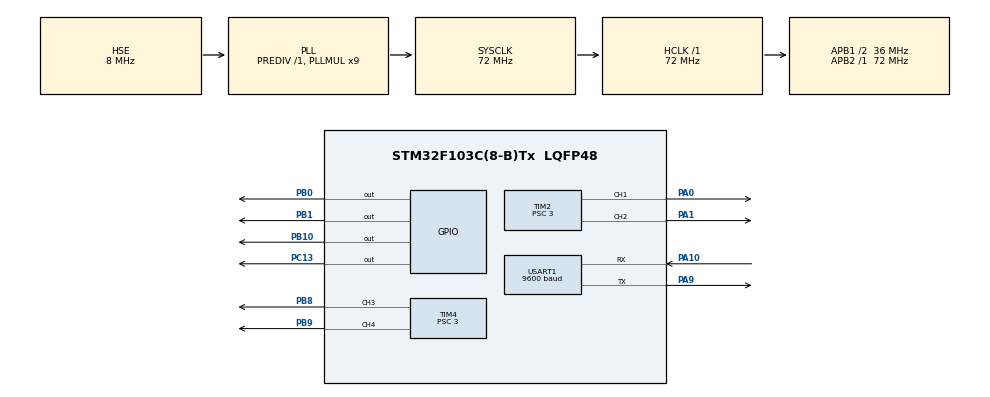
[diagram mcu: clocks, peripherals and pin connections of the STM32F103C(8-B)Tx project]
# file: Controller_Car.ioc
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Mcu.Family=STM32F1
Mcu.Name=STM32F103C(8-B)Tx
Mcu.Package=LQFP48
NVIC.PriorityGroup=NVIC_PRIORITYGROUP_4
NVIC.USART1_IRQn=true\:0\:0\:false\:false\:true\:true\:true\:true
PA0-WKUP.Signal=S_TIM2_CH1_ETR
PA1.Signal=S_TIM2_CH2
PA10.Mode=Asynchronous
PA10.Signal=USART1_RX
PA13.Mode=Serial_Wire
PA13.Signal=SYS_JTMS-SWDIO
PA14.Mode=Serial_Wire
PA14.Signal=SYS_JTCK-SWCLK
PA9.Mode=Asynchronous
PA9.Signal=USART1_TX
PB0.Signal=GPIO_Output
PB1.Signal=GPIO_Output
PB10.Signal=GPIO_Output
PB8.Signal=S_TIM4_CH3
PB9.Signal=S_TIM4_CH4
PC13-TAMPER-RTC.Signal=GPIO_Output
PD0-OSC_IN.Mode=HSE-External-Oscillator
PD0-OSC_IN.Signal=RCC_OSC_IN
PD1-OSC_OUT.Mode=HSE-External-Oscillator
PD1-OSC_OUT.Signal=RCC_OSC_OUT
ProjectManager.HeapSize=0x200
ProjectManager.StackSize=0x400
ProjectManager.TargetToolchain=MDK-ARM V5.32
RCC.AHBFreq_Value=72000000
RCC.APB1CLKDivider=RCC_HCLK_DIV2
RCC.APB1Freq_Value=36000000
RCC.APB1TimFreq_Value=72000000
RCC.APB2Freq_Value=72000000
RCC.APB2TimFreq_Value=72000000
RCC.HCLKFreq_Value=72000000
RCC.PLLMUL=RCC_PLL_MUL9
RCC.PLLSourceVirtual=RCC_PLLSOURCE_HSE
RCC.SYSCLKFreq_VALUE=72000000
RCC.SYSCLKSource=RCC_SYSCLKSOURCE_PLLCLK
RCC.USBFreq_Value=72000000
SH.S_TIM2_CH1_ETR.0=TIM2_CH1,PWM Generation1 CH1
SH.S_TIM2_CH2.0=TIM2_CH2,PWM Generation2 CH2
SH.S_TIM4_CH3.0=TIM4_CH3,PWM Generation3 CH3
SH.S_TIM4_CH4.0=TIM4_CH4,PWM Generation4 CH4
TIM2.Channel-PWM\ Generation1\ CH1=TIM_CHANNEL_1
TIM2.Channel-PWM\ Generation2\ CH2=TIM_CHANNEL_2
TIM2.Period=899
TIM2.Prescaler=3
TIM4.Channel-PWM\ Generation3\ CH3=TIM_CHANNEL_3
TIM4.Channel-PWM\ Generation4\ CH4=TIM_CHANNEL_4
TIM4.Period=899
TIM4.Prescaler=3
USART1.BaudRate=9600
USART1.VirtualMode=VM_ASYNC
VP_TIM2_VS_ClockSourceINT.Mode=Internal
VP_TIM4_VS_ClockSourceINT.Mode=Internal
board=custom

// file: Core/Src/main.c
/* USER CODE BEGIN Header */
/**
  ******************************************************************************
  * @file           : main.c
  * @brief          : Main program body
  ******************************************************************************
  * @attention
  *
  * Copyright (c) 2026 STMicroelectronics.
  * All rights reserved.
  *
  * This software is licensed under terms that can be found in the LICENSE file
  * in the root directory of this software component.
  * If no LICENSE file comes with this software, it is provided AS-IS.
  *
  ******************************************************************************
  */
/* USER CODE END Header */
#include "main.h"

/* USER CODE BEGIN Includes */
#include <stdlib.h>
/* USER CODE END Includes */

TIM_HandleTypeDef htim2;
TIM_HandleTypeDef htim4;

UART_HandleTypeDef huart1;

/* USER CODE BEGIN PV */
volatile uint8_t rx_data;
volatile uint8_t speed_percent = 40; // Mac dinh toc do 40%
volatile uint32_t last_command_time = 0;
#define COMMAND_TIMEOUT_MS 1000 // 1 giay timeout

/* USER CODE END PV */

void SystemClock_Config(void);
static void MX_GPIO_Init(void);
static void MX_USART1_UART_Init(void);
static void MX_TIM2_Init(void);
static void MX_TIM4_Init(void);
/* USER CODE BEGIN PFP */
void Motor_Left(int16_t speed);
void Motor_Right(int16_t speed);
uint16_t Map_PWM(uint8_t percent);

void move_forward(void);
void move_backward(void);
void turn_left(void);
void turn_right(void);
void move_forward_left(void);
void move_forward_right(void);
void move_backward_left(void);
void move_backward_right(void);
void stop_robot(void);
/* USER CODE END PFP */

int main(void)
{

  /* MCU Configuration--------------------------------------------------------*/

  /* Reset of all peripherals, Initializes the Flash interface and the Systick. */
  HAL_Init();

  /* Configure the system clock */
  SystemClock_Config();

  /* Initialize all configured peripherals */
  MX_GPIO_Init();
  MX_USART1_UART_Init();
  MX_TIM2_Init();
  MX_TIM4_Init();
  /* USER CODE BEGIN 2 */
	HAL_TIM_PWM_Start(&htim2, TIM_CHANNEL_1); // Left LPWM
	HAL_TIM_PWM_Start(&htim2, TIM_CHANNEL_2); // Left RPWM
	HAL_TIM_PWM_Start(&htim4, TIM_CHANNEL_3); // Right RPWM
	HAL_TIM_PWM_Start(&htim4, TIM_CHANNEL_4); // Right LPWM

	HAL_UART_Receive_IT(&huart1, (uint8_t *)&rx_data, 1);

	HAL_GPIO_WritePin(GPIOC, GPIO_PIN_13, GPIO_PIN_SET);
	stop_robot();
	last_command_time = HAL_GetTick(); // Khoi dong timer
  /* USER CODE END 2 */

  /* Infinite loop */
  while (1)
  {

    /* USER CODE BEGIN 3 */
	// Kiem tra timeout - neu khong nhan lenh trong 1s thi dung robot
	if ((HAL_GetTick() - last_command_time) > COMMAND_TIMEOUT_MS) {
		stop_robot();
	}

  }
  /* USER CODE END 3 */
}

void SystemClock_Config(void)
{
  RCC_OscInitTypeDef RCC_OscInitStruct = {0};
  RCC_ClkInitTypeDef RCC_ClkInitStruct = {0};

  /** Initializes the RCC Oscillators according to the specified parameters
  * in the RCC_OscInitTypeDef structure.
  */
  RCC_OscInitStruct.OscillatorType = RCC_OSCILLATORTYPE_HSE;
  RCC_OscInitStruct.HSEState = RCC_HSE_ON;
  RCC_OscInitStruct.HSEPredivValue = RCC_HSE_PREDIV_DIV1;
  RCC_OscInitStruct.HSIState = RCC_HSI_ON;
  RCC_OscInitStruct.PLL.PLLState = RCC_PLL_ON;
  RCC_OscInitStruct.PLL.PLLSource = RCC_PLLSOURCE_HSE;
  RCC_OscInitStruct.PLL.PLLMUL = RCC_PLL_MUL9;
  if (HAL_RCC_OscConfig(&RCC_OscInitStruct) != HAL_OK)
  {
    Error_Handler();
  }

  /** Initializes the CPU, AHB and APB buses clocks
  */
  RCC_ClkInitStruct.ClockType = RCC_CLOCKTYPE_HCLK|RCC_CLOCKTYPE_SYSCLK
                              |RCC_CLOCKTYPE_PCLK1|RCC_CLOCKTYPE_PCLK2;
  RCC_ClkInitStruct.SYSCLKSource = RCC_SYSCLKSOURCE_PLLCLK;
  RCC_ClkInitStruct.AHBCLKDivider = RCC_SYSCLK_DIV1;
  RCC_ClkInitStruct.APB1CLKDivider = RCC_HCLK_DIV2;
  RCC_ClkInitStruct.APB2CLKDivider = RCC_HCLK_DIV1;

  if (HAL_RCC_ClockConfig(&RCC_ClkInitStruct, FLASH_LATENCY_2) != HAL_OK)
  {
    Error_Handler();
  }
}

static void MX_TIM2_Init(void)
{

  TIM_ClockConfigTypeDef sClockSourceConfig = {0};
  TIM_MasterConfigTypeDef sMasterConfig = {0};
  TIM_OC_InitTypeDef sConfigOC = {0};

  htim2.Instance = TIM2;
  htim2.Init.Prescaler = 3;
  htim2.Init.CounterMode = TIM_COUNTERMODE_UP;
  htim2.Init.Period = 899;
  htim2.Init.ClockDivision = TIM_CLOCKDIVISION_DIV1;
  htim2.Init.AutoReloadPreload = TIM_AUTORELOAD_PRELOAD_DISABLE;
  if (HAL_TIM_Base_Init(&htim2) != HAL_OK)
  {
    Error_Handler();
  }
  sClockSourceConfig.ClockSource = TIM_CLOCKSOURCE_INTERNAL;
  if (HAL_TIM_ConfigClockSource(&htim2, &sClockSourceConfig) != HAL_OK)
  {
    Error_Handler();
  }
  if (HAL_TIM_PWM_Init(&htim2) != HAL_OK)
  {
    Error_Handler();
  }
  sMasterConfig.MasterOutputTrigger = TIM_TRGO_RESET;
  sMasterConfig.MasterSlaveMode = TIM_MASTERSLAVEMODE_DISABLE;
  if (HAL_TIMEx_MasterConfigSynchronization(&htim2, &sMasterConfig) != HAL_OK)
  {
    Error_Handler();
  }
  sConfigOC.OCMode = TIM_OCMODE_PWM1;
  sConfigOC.Pulse = 0;
  sConfigOC.OCPolarity = TIM_OCPOLARITY_HIGH;
  sConfigOC.OCFastMode = TIM_OCFAST_DISABLE;
  if (HAL_TIM_PWM_ConfigChannel(&htim2, &sConfigOC, TIM_CHANNEL_1) != HAL_OK)
  {
    Error_Handler();
  }
  if (HAL_TIM_PWM_ConfigChannel(&htim2, &sConfigOC, TIM_CHANNEL_2) != HAL_OK)
  {
    Error_Handler();
  }
  HAL_TIM_MspPostInit(&htim2);

}

static void MX_TIM4_Init(void)
{

  TIM_ClockConfigTypeDef sClockSourceConfig = {0};
  TIM_MasterConfigTypeDef sMasterConfig = {0};
  TIM_OC_InitTypeDef sConfigOC = {0};

  htim4.Instance = TIM4;
  htim4.Init.Prescaler = 3;
  htim4.Init.CounterMode = TIM_COUNTERMODE_UP;
  htim4.Init.Period = 899;
  htim4.Init.ClockDivision = TIM_CLOCKDIVISION_DIV1;
  htim4.Init.AutoReloadPreload = TIM_AUTORELOAD_PRELOAD_DISABLE;
  if (HAL_TIM_Base_Init(&htim4) != HAL_OK)
  {
    Error_Handler();
  }
  sClockSourceConfig.ClockSource = TIM_CLOCKSOURCE_INTERNAL;
  if (HAL_TIM_ConfigClockSource(&htim4, &sClockSourceConfig) != HAL_OK)
  {
    Error_Handler();
  }
  if (HAL_TIM_PWM_Init(&htim4) != HAL_OK)
  {
    Error_Handler();
  }
  sMasterConfig.MasterOutputTrigger = TIM_TRGO_RESET;
  sMasterConfig.MasterSlaveMode = TIM_MASTERSLAVEMODE_DISABLE;
  if (HAL_TIMEx_MasterConfigSynchronization(&htim4, &sMasterConfig) != HAL_OK)
  {
    Error_Handler();
  }
  sConfigOC.OCMode = TIM_OCMODE_PWM1;
  sConfigOC.Pulse = 0;
  sConfigOC.OCPolarity = TIM_OCPOLARITY_HIGH;
  sConfigOC.OCFastMode = TIM_OCFAST_DISABLE;
  if (HAL_TIM_PWM_ConfigChannel(&htim4, &sConfigOC, TIM_CHANNEL_3) != HAL_OK)
  {
    Error_Handler();
  }
  if (HAL_TIM_PWM_ConfigChannel(&htim4, &sConfigOC, TIM_CHANNEL_4) != HAL_OK)
  {
    Error_Handler();
  }
  HAL_TIM_MspPostInit(&htim4);

}

static void MX_USART1_UART_Init(void)
{

  huart1.Instance = USART1;
  huart1.Init.BaudRate = 9600;
  huart1.Init.WordLength = UART_WORDLENGTH_8B;
  huart1.Init.StopBits = UART_STOPBITS_1;
  huart1.Init.Parity = UART_PARITY_NONE;
  huart1.Init.Mode = UART_MODE_TX_RX;
  huart1.Init.HwFlowCtl = UART_HWCONTROL_NONE;
  huart1.Init.OverSampling = UART_OVERSAMPLING_16;
  if (HAL_UART_Init(&huart1) != HAL_OK)
  {
    Error_Handler();
  }

}

static void MX_GPIO_Init(void)
{
  GPIO_InitTypeDef GPIO_InitStruct = {0};

  /* GPIO Ports Clock Enable */
  __HAL_RCC_GPIOC_CLK_ENABLE();
  __HAL_RCC_GPIOD_CLK_ENABLE();
  __HAL_RCC_GPIOA_CLK_ENABLE();
  __HAL_RCC_GPIOB_CLK_ENABLE();

  /*Configure GPIO pin Output Level */
  HAL_GPIO_WritePin(GPIOC, GPIO_PIN_13, GPIO_PIN_RESET);

  /*Configure GPIO pin Output Level */
  HAL_GPIO_WritePin(GPIOB, GPIO_PIN_0|GPIO_PIN_1|GPIO_PIN_10, GPIO_PIN_RESET);

  /*Configure GPIO pin : PC13 */
  GPIO_InitStruct.Pin = GPIO_PIN_13;
  GPIO_InitStruct.Mode = GPIO_MODE_OUTPUT_PP;
  GPIO_InitStruct.Pull = GPIO_NOPULL;
  GPIO_InitStruct.Speed = GPIO_SPEED_FREQ_LOW;
  HAL_GPIO_Init(GPIOC, &GPIO_InitStruct);

  /*Configure GPIO pins : PB0 PB1 PB10 */
  GPIO_InitStruct.Pin = GPIO_PIN_0|GPIO_PIN_1|GPIO_PIN_10;
  GPIO_InitStruct.Mode = GPIO_MODE_OUTPUT_PP;
  GPIO_InitStruct.Pull = GPIO_NOPULL;
  GPIO_InitStruct.Speed = GPIO_SPEED_FREQ_LOW;
  HAL_GPIO_Init(GPIOB, &GPIO_InitStruct);

}

/* USER CODE BEGIN 4 */
uint16_t Map_PWM(uint8_t percent) {
	if (percent > 100) percent = 100;
	return (uint16_t)((uint32_t)percent * 899 /
		100);
}

// Ham noi bo de thiet lap PWM thuc te cho dong co
void Motor_Left(int16_t speed) {
	uint16_t pwm_val = Map_PWM(abs(speed));
	if (speed >= 0) {
		__HAL_TIM_SET_COMPARE(&htim2, TIM_CHANNEL_1, 0);       // LPWM = 0
		__HAL_TIM_SET_COMPARE(&htim2, TIM_CHANNEL_2, pwm_val); // RPWM = PWM
	} else {
		__HAL_TIM_SET_COMPARE(&htim2, TIM_CHANNEL_1, pwm_val); // LPWM = PWM
		__HAL_TIM_SET_COMPARE(&htim2, TIM_CHANNEL_2, 0);       // RPWM = 0
	}
}

void Motor_Right(int16_t speed) {
	uint16_t pwm_val = Map_PWM(abs(speed));
	if (speed >= 0) {
		__HAL_TIM_SET_COMPARE(&htim4, TIM_CHANNEL_3, pwm_val); // RPWM = PWM
		__HAL_TIM_SET_COMPARE(&htim4, TIM_CHANNEL_4, 0);       // LPWM = 0
	} else {
		__HAL_TIM_SET_COMPARE(&htim4, TIM_CHANNEL_3, 0);       // RPWM = 0
		__HAL_TIM_SET_COMPARE(&htim4, TIM_CHANNEL_4, pwm_val); // LPWM = PWM
	}
}

void move_forward() {
	Motor_Left(speed_percent);
	Motor_Right(speed_percent);
}

void move_backward() {
	Motor_Left(-speed_percent);
	Motor_Right(-speed_percent);
}

void turn_left() {
	Motor_Left(-(speed_percent * 85) / 100);
	Motor_Right((speed_percent * 85) / 100);
}

void turn_right() {
	Motor_Left((speed_percent * 85) / 100);
	Motor_Right(-(speed_percent * 85) / 100);
}

void move_forward_left() {
	Motor_Left(0);
	Motor_Right(speed_percent);
}

void move_forward_right() {
	Motor_Left(speed_percent);
	Motor_Right(0);
}

void move_backward_left() {
	Motor_Left(0);
	Motor_Right(-speed_percent);
}

void move_backward_right() {
	Motor_Left(-speed_percent);
	Motor_Right(0);
}

void stop_robot() {
	Motor_Left(0);
	Motor_Right(0);
}

void HAL_UART_RxCpltCallback(UART_HandleTypeDef *huart) {
	if (huart->Instance == USART1) {
		// Reset timeout khi nhan duoc lenh
		last_command_time = HAL_GetTick();

		if (rx_data >= '0' && rx_data <= '9') {
			speed_percent = 40 + (rx_data - '0') * 6;
		} else if (rx_data == 'q') {
			speed_percent = 100;
		}

		switch (rx_data) {
			// Điều khiển di chuyển
			case 'F': move_forward(); 				break;
			case 'B': move_backward(); 				break;
			case 'L': turn_left(); 						break;
			case 'R': turn_right(); 					break;
			case 'G': move_forward_left(); 		break;
			case 'I': move_forward_right(); 	break;
			case 'H': move_backward_left(); 	break;
			case 'J': move_backward_right(); 	break;
			case 'S': stop_robot(); 					break;

			// Điều khiển LED trước (PA0)
			case 'W': HAL_GPIO_WritePin(GPIOB, GPIO_PIN_0, GPIO_PIN_SET);   break; // Bật
			case 'w': HAL_GPIO_WritePin(GPIOB, GPIO_PIN_0, GPIO_PIN_RESET); break; // Tắt

			// Điều khiển LED sau (PA1)
			case 'U': HAL_GPIO_WritePin(GPIOB, GPIO_PIN_1, GPIO_PIN_SET);   break; // Bật
			case 'u': HAL_GPIO_WritePin(GPIOB, GPIO_PIN_1, GPIO_PIN_RESET); break; // Tắt

			// Điều khiển Còi (PA2)
			case 'V': HAL_GPIO_WritePin(GPIOB, GPIO_PIN_10, GPIO_PIN_SET);   break; // Bật
			case 'v': HAL_GPIO_WritePin(GPIOB, GPIO_PIN_10, GPIO_PIN_RESET); break; // Tắt
		}

		// Tiếp tục nhận byte tiếp theo
		HAL_UART_Receive_IT(&huart1, (uint8_t *)&rx_data, 1);
	}
}

/* USER CODE BEGIN 4 */

/* USER CODE END 4 */

void Error_Handler(void)
{
  __disable_irq();
  while (1)
  {
  }
}
